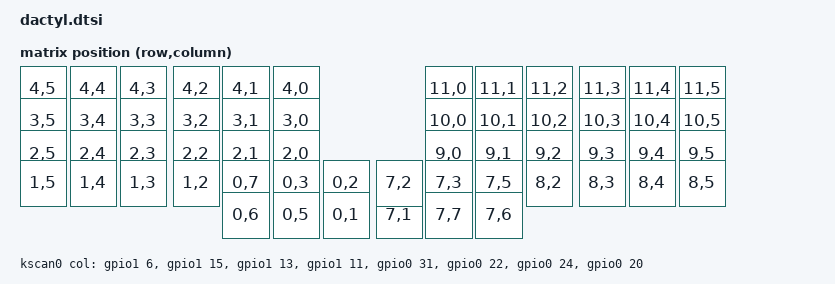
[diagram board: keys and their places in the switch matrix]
#include <dt-bindings/zmk/matrix_transform.h>
#include <dt-bindings/gpio/gpio.h>
#include <physical_layouts.dtsi>

/ {
    chosen {
        zmk,kscan = &kscan0;
        // ZMK Studio renders the keyboard from the chosen zmk,physical-layout
        // (below), which carries its own transform + kscan. A user config that
        // still selects its variant the pre-Studio way, via
        // `chosen { zmk,matrix-transform = ... }`, overrides this and makes ZMK
        // fall back to a synthetic layout from that transform — the
        // dactyl_manuform_letters_only transform node is kept for that case.
        zmk,physical-layout = &physical_layout_dactyl_manuform_letters_only;
    };

    // Dactyl Manuform, "letters only" variant: 3x6 letter block + 4-key
    // lower row + 6-key manuform thumb cluster per hand (28 keys/hand, 56
    // total). Matrix coordinates match the wired cyboard dactyl
    // (vial-qmk keyboards/cyboard/dactyl/manuform_letters_only) and the
    // assimilator-bt "imprint" kscan wiring, so an existing wired board's
    // key positions carry straight over. This is the imprint shield's
    // dactyl_manuform_number_row transform with the number row dropped.
    //
    // NOTE: the dongle shield (dactyl_dongle) carries a byte-identical copy
    // of this map so it can stay standalone. Keep the two in sync.
    dactyl_manuform_letters_only: keymap_transform_0 {
        compatible = "zmk,matrix-transform";
        columns = <8>;
        rows = <14>;
        map = <
RC(4,5) RC(4,4) RC(4,3) RC(4,2) RC(4,1) RC(4,0)                           RC(11,0) RC(11,1) RC(11,2) RC(11,3) RC(11,4) RC(11,5)
RC(3,5) RC(3,4) RC(3,3) RC(3,2) RC(3,1) RC(3,0)                           RC(10,0) RC(10,1) RC(10,2) RC(10,3) RC(10,4) RC(10,5)
RC(2,5) RC(2,4) RC(2,3) RC(2,2) RC(2,1) RC(2,0)                           RC(9,0)  RC(9,1)  RC(9,2)  RC(9,3)  RC(9,4)  RC(9,5)
RC(1,5) RC(1,4) RC(1,3) RC(1,2)                                                             RC(8,2)  RC(8,3)  RC(8,4)  RC(8,5)
                                    RC(0,3) RC(0,2) RC(0,1)   RC(7,1) RC(7,2) RC(7,3)
                                    RC(0,7) RC(0,6) RC(0,5)   RC(7,5) RC(7,6) RC(7,7)
        >;
    };

    // ZMK Studio physical layout: the single fixed shape of this board, so
    // Studio renders the Dactyl Manuform letters-only outline. Unlike the
    // imprint flex-PCB shield (nine switchable layouts + a cross-layout
    // position map), a Dactyl is one physical shape, so there is exactly one
    // layout here and no position map or thumb-fallback ghosting to worry
    // about. Key order matches the transform above 1:1 (key position = order).
    //
    // Coordinates are the wired board's own key positions from vial-qmk
    // keyboards/cyboard/dactyl/manuform_letters_only/info.json (rgb_matrix),
    // scaled so one column (~17 units) ~= 100 (1u). The render is a 2-D
    // approximation of a 3-D board — enough for Studio to show the right
    // shape and let users see which key they are editing.
    physical_layout_dactyl_manuform_letters_only: physical_layout_0 {
        compatible = "zmk,physical-layout";
        display-name = "Dactyl Manuform (Letters Only)";
        kscan = <&kscan0>;
        transform = <&dactyl_manuform_letters_only>;

        keys  //                     w   h    x    y     rot    rx    ry
            = <&key_physical_attrs 100 100    0  124       0     0     0>
            , <&key_physical_attrs 100 100  100  124       0     0     0>
            , <&key_physical_attrs 100 100  200  124       0     0     0>
            , <&key_physical_attrs 100 100  306  124       0     0     0>
            , <&key_physical_attrs 100 100  406  124       0     0     0>
            , <&key_physical_attrs 100 100  506  124       0     0     0>
            , <&key_physical_attrs 100 100  812  124       0     0     0>
            , <&key_physical_attrs 100 100  912  124       0     0     0>
            , <&key_physical_attrs 100 100 1012  124       0     0     0>
            , <&key_physical_attrs 100 100 1118  124       0     0     0>
            , <&key_physical_attrs 100 100 1218  124       0     0     0>
            , <&key_physical_attrs 100 100 1318  124       0     0     0>
            , <&key_physical_attrs 100 100    0  188       0     0     0>
            , <&key_physical_attrs 100 100  100  188       0     0     0>
            , <&key_physical_attrs 100 100  200  188       0     0     0>
            , <&key_physical_attrs 100 100  306  188       0     0     0>
            , <&key_physical_attrs 100 100  406  188       0     0     0>
            , <&key_physical_attrs 100 100  506  188       0     0     0>
            , <&key_physical_attrs 100 100  812  188       0     0     0>
            , <&key_physical_attrs 100 100  912  188       0     0     0>
            , <&key_physical_attrs 100 100 1012  188       0     0     0>
            , <&key_physical_attrs 100 100 1118  188       0     0     0>
            , <&key_physical_attrs 100 100 1218  188       0     0     0>
            , <&key_physical_attrs 100 100 1318  188       0     0     0>
            , <&key_physical_attrs 100 100    0  253       0     0     0>
            , <&key_physical_attrs 100 100  100  253       0     0     0>
            , <&key_physical_attrs 100 100  200  253       0     0     0>
            , <&key_physical_attrs 100 100  306  253       0     0     0>
            , <&key_physical_attrs 100 100  406  253       0     0     0>
            , <&key_physical_attrs 100 100  506  253       0     0     0>
            , <&key_physical_attrs 100 100  812  253       0     0     0>
            , <&key_physical_attrs 100 100  912  253       0     0     0>
            , <&key_physical_attrs 100 100 1012  253       0     0     0>
            , <&key_physical_attrs 100 100 1118  253       0     0     0>
            , <&key_physical_attrs 100 100 1218  253       0     0     0>
            , <&key_physical_attrs 100 100 1318  253       0     0     0>
            , <&key_physical_attrs 100 100    0  312       0     0     0>
            , <&key_physical_attrs 100 100  100  312       0     0     0>
            , <&key_physical_attrs 100 100  200  312       0     0     0>
            , <&key_physical_attrs 100 100  306  312       0     0     0>
            , <&key_physical_attrs 100 100 1012  312       0     0     0>
            , <&key_physical_attrs 100 100 1118  312       0     0     0>
            , <&key_physical_attrs 100 100 1218  312       0     0     0>
            , <&key_physical_attrs 100 100 1318  312       0     0     0>
            , <&key_physical_attrs 100 100  506  312       0     0     0>
            , <&key_physical_attrs 100 100  606  312       0     0     0>
            , <&key_physical_attrs 100 100  606  376       0     0     0>
            , <&key_physical_attrs 100 100  712  376       0     0     0>
            , <&key_physical_attrs 100 100  712  312       0     0     0>
            , <&key_physical_attrs 100 100  812  312       0     0     0>
            , <&key_physical_attrs 100 100  406  312       0     0     0>
            , <&key_physical_attrs 100 100  406  376       0     0     0>
            , <&key_physical_attrs 100 100  506  376       0     0     0>
            , <&key_physical_attrs 100 100  912  312       0     0     0>
            , <&key_physical_attrs 100 100  912  376       0     0     0>
            , <&key_physical_attrs 100 100  812  376       0     0     0>
            ;

        // Keyboard Status LED map (issue zmk-private#72), as a child node with
        // the zmk,underglow-indicators compatible rather than a property on the
        // layout, so the shield still builds against stock ZMK. The Keyboard
        // Status behavior (&kb_status) draws the map of the selected layout.
        // Indices are the left half's own ws2812 chain, taken from the wired
        // board's vial-qmk rgb_matrix (manuform_letters_only/info.json), same
        // chain the assimilator-bt drives:
        //   usb         - top row outer (pinky) key, the USB-output indicator
        //   bt-profiles - the rest of the top row, BLE profile 0..4
        //   battery     - the home row, pinky-side LED first
        // Mirror-wired right chain lands the same indices on the mirror keys.
        // NOTE: hardware-confirm the chain direction on a real board (as the
        // imprint maps were), then correct here if the strip counts the other
        // way.
        status_indicators {
            compatible = "zmk,underglow-indicators";
            battery = <18 14 10 6 3 0>;
            bt-profiles = <17 13 9 5 2>;
            usb = <21>;
        };
    };

    kscan0: kscan {
        compatible = "zmk,kscan-gpio-matrix";
        label = "KSCAN";

        wakeup-source;

        diode-direction = "row2col";
        col-gpios
            = <&gpio1 6 (GPIO_ACTIVE_HIGH | GPIO_PULL_DOWN)> // col0 from schematic
            , <&gpio1 15 (GPIO_ACTIVE_HIGH | GPIO_PULL_DOWN)> // col1 from schematic
            , <&gpio1 13 (GPIO_ACTIVE_HIGH | GPIO_PULL_DOWN)> // col2 from schematic
            , <&gpio1 11 (GPIO_ACTIVE_HIGH | GPIO_PULL_DOWN)> // col3 from schematic
            , <&gpio0 31 (GPIO_ACTIVE_HIGH | GPIO_PULL_DOWN)> // col4 from schematic
            , <&gpio0 22 (GPIO_ACTIVE_HIGH | GPIO_PULL_DOWN)> // col5 from schematic
            , <&gpio0 24 (GPIO_ACTIVE_HIGH | GPIO_PULL_DOWN)> // col6 from schematic
            , <&gpio0 20 (GPIO_ACTIVE_HIGH | GPIO_PULL_DOWN)> // col7 from schematic
            ;
    };

    // Unlock ZMK Studio by holding the A- and F-position keys (left home row,
    // matrix row 3) for 3 seconds. Matrix coordinates, unlike key positions,
    // are identical across any keymap the user builds, so this works no matter
    // what they have remapped. Mirrors the imprint shield's unlock combo.
    studio_unlock_combo {
        compatible = "zmk,studio-unlock-combo";
        keys = <RC(3,4) RC(3,1)>;
        hold-time-ms = <3000>;
    };
};
